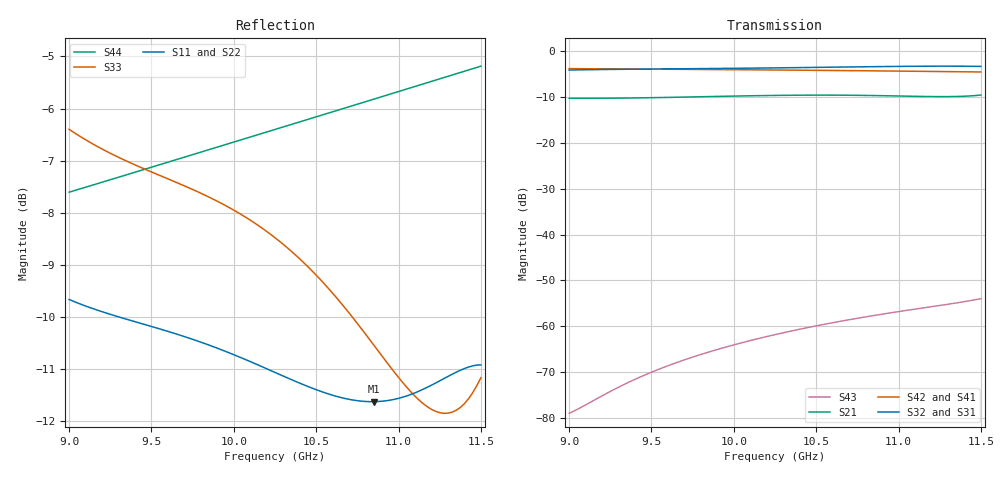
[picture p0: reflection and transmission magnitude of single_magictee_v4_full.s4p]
! Generated from PyAEDT SolutionData; AEDT ExportNetworkData workaround
# GHz S MA R 50
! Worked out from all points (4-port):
!   101 points, 9 GHz to 11.5 GHz, reference 50 ohm
!   strongest paths, dB at 9 GHz, 9.625 GHz, 10.25 GHz, 10.88 GHz, 11.5 GHz:
!     S32: -4.1, -3.9, -3.7, -3.4, -3.4
!     S31: -4.1, -3.9, -3.7, -3.4, -3.4
!     S42: -3.8, -4.0, -4.1, -4.3, -4.6
!     S41: -3.8, -4.0, -4.1, -4.3, -4.6
!     S21: -10.3, -10.1, -9.7, -9.7, -9.6
!     S43: -79.0, -68.3, -61.8, -57.5, -54.0
!   lowest |S11| = -11.6 dB at 10.85 GHz (marker M1), VSWR 1.71, Z = 30 + j6.7 ohm
!   |S11| at or under -10 dB: 9.305 GHz to end of sweep
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9  0.3288 -7.0  0.3057 -89.1  0.6208 -25.7  0.6427 45.2
   0.3057 -89.1  0.3286 -7.1  0.6208 -25.8  0.6428 -134.9
   0.6208 -25.7  0.6208 -25.8  0.4788 174.8  0.0001124 -124.7
   0.6427 45.2  0.6428 -134.9  0.0001124 -124.7  0.4167 -129.2
9.425  0.3122 -56.8  0.3085 -146.3  0.6347 -100.8  0.636 -2.7
       0.3085 -146.3  0.3118 -56.9  0.6347 -100.8  0.6362 177.2
       0.6347 -100.8  0.6347 -100.8  0.4409 79.6  0.0002763 -177.9
       0.636 -2.7  0.6362 177.2  0.0002763 -177.9  0.4367 -173.6
9.9  0.2952 -110.3  0.3201 152.9  0.6455 178.9  0.6275 -54.3
     0.3201 152.9  0.2944 -110.2  0.6454 178.8  0.628 125.7
     0.6455 178.9  0.6454 178.8  0.4084 -21.0  0.0005578 92.5
     0.6275 -54.3  0.628 125.7  0.0005578 92.5  0.4604 138.0
10.4  0.2733 -162.1  0.3299 90.5  0.6598 96.4  0.6174 -106.8
      0.3299 90.5  0.2717 -162.0  0.6598 96.4  0.618 73.1
      0.6598 96.4  0.6598 96.4  0.3596 -123.9  0.0009275 -6.2
      0.6174 -106.8  0.618 73.1  0.0009275 -6.2  0.4867 88.0
10.85  0.2623 156.7  0.327 36.2  0.675 22.1  0.6071 -153.1
       0.327 36.2  0.2599 156.7  0.6753 22.1  0.6079 26.7
       0.675 22.1  0.6753 22.1  0.2972 138.9  0.001309 -95.0
       0.6071 -153.1  0.6079 26.7  0.001309 -95.0  0.5118 43.5
11.15  0.2696 130.3  0.3198 2.1  0.6824 -28.7  0.5995 176.4
       0.3198 2.1  0.2667 130.3  0.6827 -28.7  0.6004 -3.8
       0.6824 -28.7  0.6827 -28.7  0.2612 66.6  0.001584 -153.4
       0.5995 176.4  0.6004 -3.8  0.001584 -153.4  0.5293 14.0
11.5  0.2845 93.8  0.3313 -33.4  0.6795 -91.9  0.5895 141.1
      0.3313 -33.4  0.2811 93.8  0.6795 -91.9  0.5912 -39.1
      0.6795 -91.9  0.6795 -91.9  0.2766 -25.0  0.001999 141.1
      0.5895 141.1  0.5912 -39.1  0.001999 141.1  0.5505 -20.5
